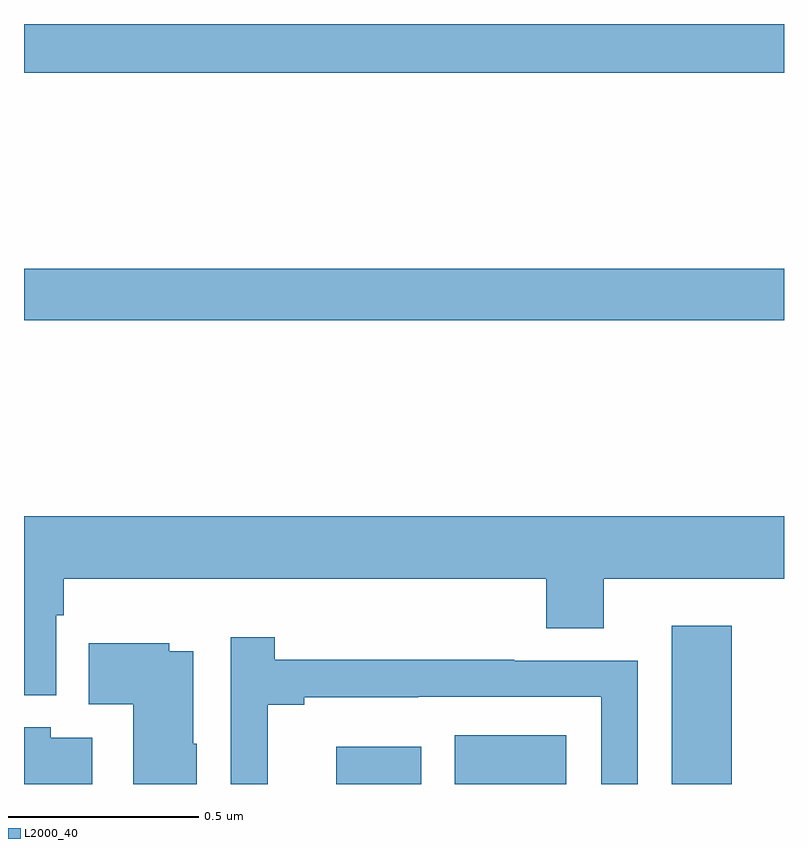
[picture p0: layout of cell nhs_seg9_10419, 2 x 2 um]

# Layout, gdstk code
import gdstk
lib = gdstk.Library(unit=1e-6, precision=1e-09)
def R(c, l, rs):  # rectangles x0, y0, x1, y1
    for r in rs: c.add(gdstk.rectangle(r[:2], r[2:], *l))
def P(c, l, *ps):  # polygons
    for p in ps: c.add(gdstk.Polygon(p, *l))
L2000_40 = (2000, 40)

nhs_seg9_10419 = lib.new_cell('nhs_seg9_10419')
R(nhs_seg9_10419, L2000_40, [(242.822,1242.5,243.046,1242.598), (243.134,1242.5,243.427,1242.628), (243.704,1242.5,243.863,1242.916), (242,1243.72,244,1243.856), (242,1244.372,244,1244.5)])
P(nhs_seg9_10419, L2000_40, [(242.085,1242.944),(242.105,1242.944),(242.105,1243.04),(243.374,1243.04),(243.374,1242.91),(243.526,1242.91),(243.526,1243.04),(244,1243.04),(244,1243.204),(242,1243.204),(242,1242.734),(242.085,1242.734)],
  [(242.642,1242.709),(242.737,1242.709),(242.737,1242.728),(243.038,1242.728),(243.038,1242.729),(243.519,1242.729),(243.519,1242.5),(243.615,1242.5),(243.615,1242.825),(243.29,1242.825),(243.29,1242.827),(242.66,1242.827),(242.66,1242.886),(242.544,1242.886),(242.544,1242.5),(242.642,1242.5)],
  [(242.455,1242.606),(242.446,1242.606),(242.446,1242.85),(242.382,1242.85),(242.382,1242.871),(242.17,1242.871),(242.17,1242.71),(242.288,1242.71),(242.288,1242.5),(242.455,1242.5)],
  [(242.179,1242.622),(242.07,1242.622),(242.07,1242.649),(242,1242.649),(242,1242.5),(242.179,1242.5)])

lib.write_gds('nhs_seg9_10419.gds')
